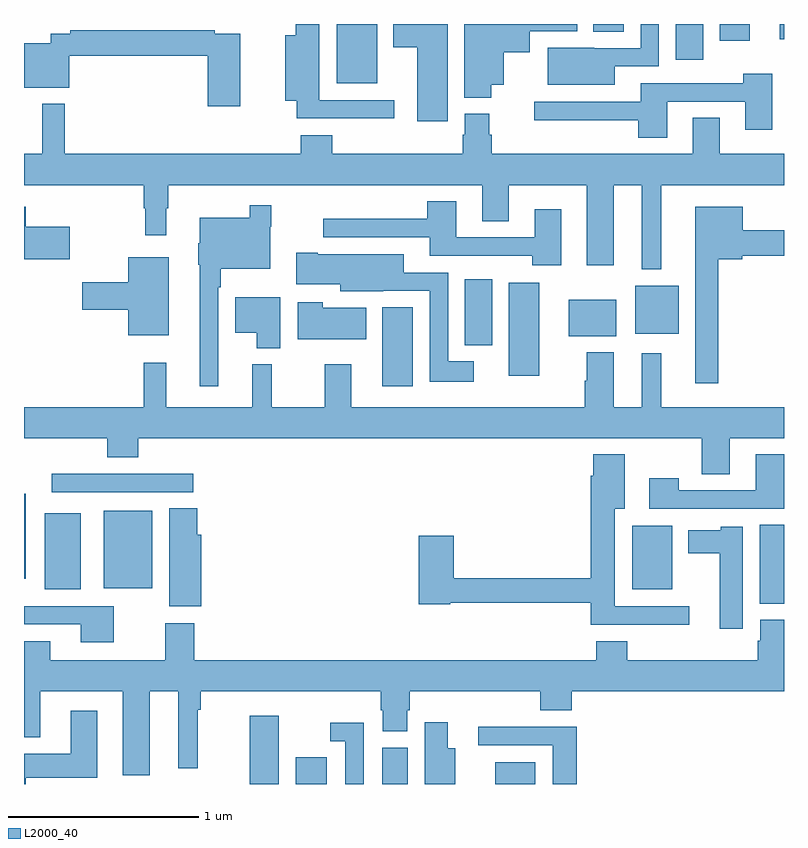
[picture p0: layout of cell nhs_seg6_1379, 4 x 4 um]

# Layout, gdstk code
import gdstk
lib = gdstk.Library(unit=1e-6, precision=1e-09)
def R(c, l, rs):  # rectangles x0, y0, x1, y1
    for r in rs: c.add(gdstk.rectangle(r[:2], r[2:], *l))
def P(c, l, *ps):  # polygons
    for p in ps: c.add(gdstk.Polygon(p, *l))
L2000_40 = (2000, 40)

nhs_seg6_1379 = lib.new_cell('nhs_seg6_1379')
R(nhs_seg6_1379, L2000_40, [(196.187,961.5,196.342,961.858), (196.43,961.5,196.594,961.642), (196.886,961.5,197.02,961.692), (197.48,961.5,197.692,961.615), (198.872,962.449,199,962.864), (195.11,962.525,195.298,962.926), (198.2,962.525,198.412,962.86), (195.419,962.531,195.676,962.938), (195,962.58,195.01,963.028), (195.147,963.036,195.892,963.132), (196.886,963.594,197.047,964.009), (197.552,963.648,197.713,964.138), (197.321,963.809,197.464,964.156), (197.867,963.857,198.118,964.048), (198.218,963.869,198.445,964.123), (196.646,965.189,196.858,965.5), (198.431,965.313,198.574,965.5), (198.662,965.412,198.82,965.5), (198.977,965.42,199,965.5), (197.996,965.459,198.157,965.5)])
P(nhs_seg6_1379, L2000_40, [(197.23,965.5),(196.943,965.5),(196.943,965.378),(197.069,965.378),(197.069,964.988),(197.23,964.988)],
  [(196.948,965.1),(196.555,965.1),(196.555,965.5),(196.43,965.5),(196.43,965.44),(196.376,965.44),(196.376,965.096),(196.435,965.096),(196.435,965.003),(196.948,965.003)],
  [(198.109,965.277),(198.342,965.277),(198.342,965.5),(198.246,965.5),(198.246,965.373),(198,965.373),(198,965.374),(197.756,965.374),(197.756,965.18),(198.109,965.18)],
  [(197.46,965.18),(197.524,965.18),(197.524,965.351),(197.662,965.351),(197.662,965.462),(197.911,965.462),(197.911,965.5),(197.318,965.5),(197.318,965.113),(197.46,965.113)],
  [(196.138,965.448),(196.004,965.448),(196.004,965.468),(195.244,965.468),(195.244,965.449),(195.141,965.449),(195.141,965.398),(195,965.398),(195,965.165),(195.237,965.165),(195.237,965.332),(195.968,965.332),(195.968,965.067),(196.138,965.067)],
  [(198.385,965.091),(198.797,965.091),(198.797,964.944),(198.937,964.944),(198.937,965.239),(198.785,965.239),(198.785,965.187),(198.245,965.187),(198.245,965.091),(197.685,965.091),(197.685,964.994),(198.233,964.994),(198.233,964.902),(198.385,964.902)],
  [(198.355,964.652),(199,964.652),(199,964.816),(198.661,964.816),(198.661,965.006),(198.521,965.006),(198.521,964.816),(197.462,964.816),(197.462,964.917),(197.449,964.917),(197.449,965.028),(197.321,965.028),(197.321,964.917),(197.309,964.917),(197.309,964.816),(196.622,964.816),(196.622,964.915),(196.457,964.915),(196.457,964.816),(195.215,964.816),(195.215,965.08),(195.097,965.08),(195.097,964.816),(195,964.816),(195,964.652),(195.631,964.652),(195.631,964.529),(195.639,964.529),(195.639,964.389),(195.748,964.389),(195.748,964.529),(195.76,964.529),(195.76,964.652),(197.411,964.652),(197.411,964.462),(197.551,964.462),(197.551,964.652),(197.963,964.652),(197.963,964.23),(198.103,964.23),(198.103,964.652),(198.251,964.652),(198.251,964.208),(198.355,964.208)],
  [(197.827,964.525),(197.687,964.525),(197.687,964.377),(197.275,964.377),(197.275,964.567),(197.123,964.567),(197.123,964.474),(196.575,964.474),(196.575,964.377),(197.135,964.377),(197.135,964.281),(197.675,964.281),(197.675,964.23),(197.827,964.23)],
  [(196.023,964.115),(196.036,964.115),(196.036,964.211),(196.296,964.211),(196.296,964.433),(196.301,964.433),(196.301,964.546),(196.188,964.546),(196.188,964.48),(195.926,964.48),(195.926,964.347),(195.917,964.347),(195.917,964.233),(195.926,964.233),(195.926,963.594),(196.023,963.594)],
  [(195.241,964.432),(195.01,964.432),(195.01,964.537),(195,964.537),(195,964.262),(195.241,964.262)],
  [(198.655,964.262),(198.78,964.262),(198.78,964.28),(199,964.28),(199,964.414),(198.784,964.414),(198.784,964.537),(198.533,964.537),(198.533,963.609),(198.655,963.609)],
  [(197.368,963.724),(197.232,963.724),(197.232,964.191),(196.999,964.191),(196.999,964.288),(196.546,964.288),(196.546,964.296),(196.434,964.296),(196.434,964.13),(196.664,964.13),(196.664,964.094),(196.89,964.094),(196.89,964.095),(197.136,964.095),(197.136,963.617),(197.368,963.617)],
  [(195.763,964.273),(195.548,964.273),(195.548,964.142),(195.306,964.142),(195.306,963.995),(195.548,963.995),(195.548,963.863),(195.763,963.863)],
  [(196.348,964.063),(196.112,964.063),(196.112,963.875),(196.226,963.875),(196.226,963.794),(196.348,963.794)],
  [(196.801,964.006),(196.572,964.006),(196.572,964.036),(196.442,964.036),(196.442,963.842),(196.801,963.842)],
  [(198.355,963.766),(198.251,963.766),(198.251,963.484),(198.103,963.484),(198.103,963.772),(197.963,963.772),(197.963,963.623),(197.951,963.623),(197.951,963.484),(196.723,963.484),(196.723,963.709),(196.583,963.709),(196.583,963.484),(196.304,963.484),(196.304,963.709),(196.202,963.709),(196.202,963.484),(195.749,963.484),(195.749,963.718),(195.631,963.718),(195.631,963.484),(195,963.484),(195,963.32),(195.437,963.32),(195.437,963.221),(195.602,963.221),(195.602,963.32),(198.568,963.32),(198.568,963.13),(198.715,963.13),(198.715,963.32),(199,963.32),(199,963.484),(198.355,963.484)],
  [(199,963.235),(198.851,963.235),(198.851,963.045),(198.447,963.045),(198.447,963.109),(198.291,963.109),(198.291,962.949),(199,962.949)],
  [(198.502,962.436),(198.109,962.436),(198.109,962.948),(198.163,962.948),(198.163,963.235),(197.996,963.235),(197.996,963.122),(197.984,963.122),(197.984,962.582),(197.261,962.582),(197.261,962.806),(197.078,962.806),(197.078,962.446),(197.244,962.446),(197.244,962.454),(197.984,962.454),(197.984,962.339),(198.502,962.339)],
  [(195.932,962.811),(195.911,962.811),(195.911,962.951),(195.764,962.951),(195.764,962.435),(195.932,962.435)],
  [(198.784,962.854),(198.666,962.854),(198.666,962.836),(198.497,962.836),(198.497,962.714),(198.662,962.714),(198.662,962.316),(198.784,962.316)],
  [(195.472,962.436),(195,962.436),(195,962.34),(195.299,962.34),(195.299,962.246),(195.472,962.246)],
  [(195.812,961.584),(195.914,961.584),(195.914,961.892),(195.929,961.892),(195.929,961.988),(196.877,961.988),(196.877,961.887),(196.889,961.887),(196.889,961.777),(197.017,961.777),(197.017,961.887),(197.03,961.887),(197.03,961.988),(197.717,961.988),(197.717,961.889),(197.882,961.889),(197.882,961.988),(199,961.988),(199,962.364),(198.875,962.364),(198.875,962.253),(198.863,962.253),(198.863,962.152),(198.176,962.152),(198.176,962.251),(198.011,962.251),(198.011,962.152),(195.896,962.152),(195.896,962.347),(195.743,962.347),(195.743,962.152),(195.139,962.152),(195.139,962.251),(195,962.251),(195,961.745),(195.085,961.745),(195.085,961.988),(195.521,961.988),(195.521,961.547),(195.661,961.547),(195.661,961.988),(195.812,961.988)],
  [(195.01,961.532),(195.385,961.532),(195.385,961.885),(195.245,961.885),(195.245,961.66),(195,961.66),(195,961.5),(195.01,961.5)],
  [(197.269,961.687),(197.23,961.687),(197.23,961.825),(197.108,961.825),(197.108,961.5),(197.269,961.5)],
  [(196.788,961.822),(196.611,961.822),(196.611,961.725),(196.692,961.725),(196.692,961.5),(196.788,961.5)],
  [(197.909,961.802),(197.391,961.802),(197.391,961.704),(197.783,961.704),(197.783,961.5),(197.909,961.5)])

lib.write_gds('nhs_seg6_1379.gds')
